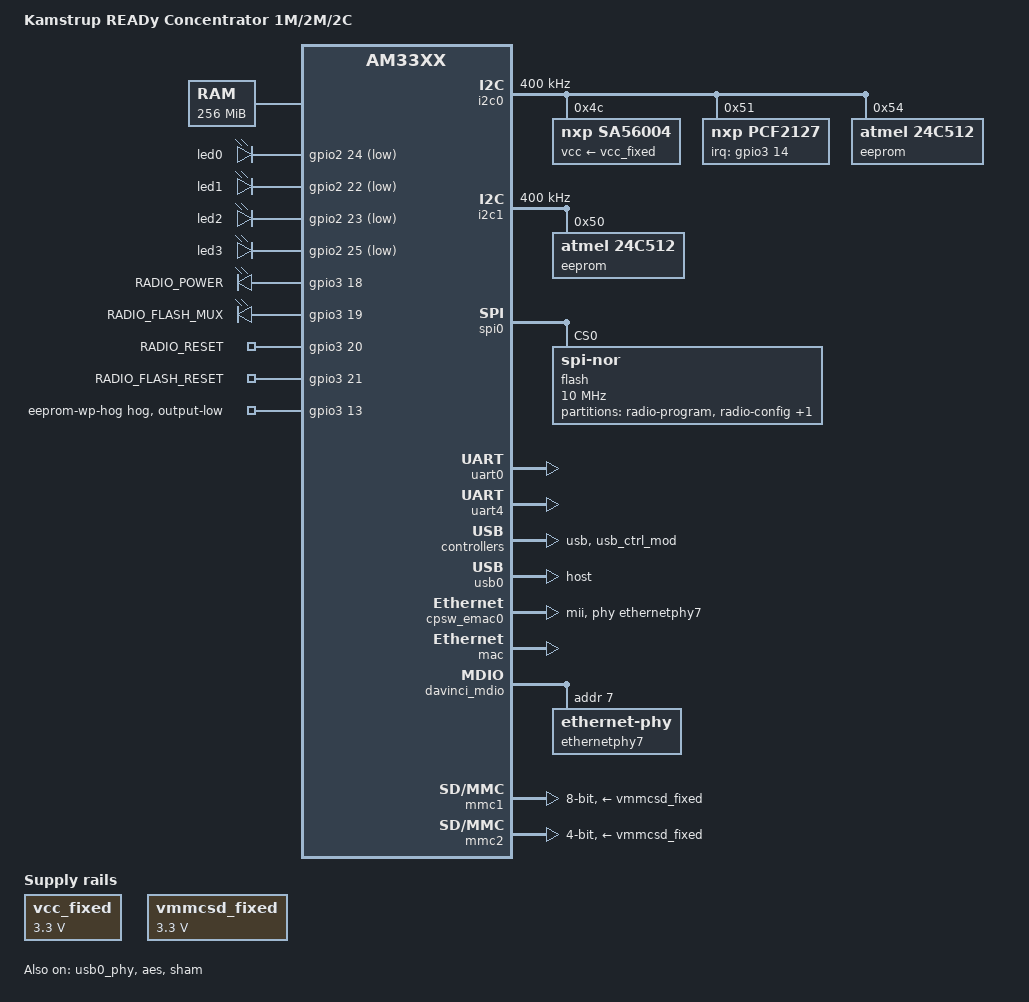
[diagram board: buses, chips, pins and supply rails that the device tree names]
// SPDX-License-Identifier: GPL-2.0-only
/*
 * Device Tree Source for Kamstrup READy Concentrator 1M/2M/2C.
 *
 * Copyright (C) 2025 Kamstrup A/S
 * Author: Bruno Thomsen <bruno.thomsen@gmail.com>
 *         Lars Alex Pedersen <lapeddk@gmail.com>
 */
/dts-v1/;

#include "am33xx.dtsi"
#include <dt-bindings/interrupt-controller/irq.h>
#include <dt-bindings/leds/common.h>

/ {
	model = "Kamstrup READy Concentrator 1M/2M/2C";
	compatible = "kam,am335x-emperor", "ti,am33xx";

	memory@80000000 {
		device_type = "memory";
		reg = <0x80000000 0x10000000>; /* 256 MB */
	};

	chosen {
		stdout-path = &uart0;
	};

	leds {
		compatible = "gpio-leds";
		pinctrl-names = "default";
		pinctrl-0 = <&leds_pins_default>;

		led0 {
			label = "led0";
			gpios = <&gpio2 24 GPIO_ACTIVE_LOW>;
			default-state = "off";
		};

		led1 {
			label = "led1";
			gpios = <&gpio2 22 GPIO_ACTIVE_LOW>;
			default-state = "off";
		};

		led2 {
			label = "led2";
			gpios = <&gpio2 23 GPIO_ACTIVE_LOW>;
			default-state = "off";
		};

		led3 {
			label = "led3";
			gpios = <&gpio2 25 GPIO_ACTIVE_LOW>;
			default-state = "on";
			linux,default-trigger = "heartbeat";
		};
	};

	sdr-radio-control {
		compatible = "gpio-leds";
		pinctrl-names = "default";
		pinctrl-0 = <&sdr_radio_control_pins_default>;

		led_radio_power {
			label = "RADIO_POWER";
			gpios = <&gpio3 18 GPIO_ACTIVE_HIGH>;
			default-state = "on";
		};

		led_radio_flash_mux {
			label = "RADIO_FLASH_MUX";
			gpios = <&gpio3 19 GPIO_ACTIVE_HIGH>;
			default-state = "on";
		};

		led_radio_reset {
			label = "RADIO_RESET";
			gpios = <&gpio3 20 GPIO_ACTIVE_HIGH>;
			default-state = "off";
		};

		led_radio_flash_reset {
			label = "RADIO_FLASH_RESET";
			gpios = <&gpio3 21 GPIO_ACTIVE_HIGH>;
			default-state = "on";
		};
	};

	regulators {
		compatible = "simple-bus";

		vcc_fixed: vcc_fixed {
			compatible = "regulator-fixed";
			regulator-name = "vcc_fixed";
			regulator-min-microvolt = <3300000>;
			regulator-max-microvolt = <3300000>;
			regulator-boot-on;
		};

		vmmcsd_fixed: fixedregulator0 {
			compatible = "regulator-fixed";
			regulator-name = "vmmcsd_fixed";
			regulator-min-microvolt = <3300000>;
			regulator-max-microvolt = <3300000>;
		};
	};
};

/*
 * Restrict 1.1 V operating point to increase SoC life-time
 * by removing the follow opp's:
 * - OPP120-1
 * - OPP120-2
 * - OPP120-2
 * - OPP Turbo-2
 * - OPP Nitro
 *
 * Note: This limit SoC operating point to maximum 600 MHz.
 */
&cpu0_opp_table {
	/delete-node/ opp-120-600000000;
	/delete-node/ opp-120-720000000;
	/delete-node/ opp-720000000;
	/delete-node/ opp-800000000;
	/delete-node/ opp-1000000000;
};

&gpio0 {
	gpio-line-names =
		"MDIO_DATA",
		"MDIO_CLK",
		"SPI0_CLK",
		"SPI0_MOSI",
		"SPI0_MISO",
		"SPI0_CS0",
		"POWER_FAILURE",
		"SPI1_CLK",
		"SYS_BOOT12",
		"SYS_BOOT13",
		"SYS_BOOT14",
		"SYS_BOOT15",
		"RADIO_TEMP_CRIT",
		"RADIO_TEMP_ALERT",
		"I2C1_SDA",
		"I2C1_SCL",
		"MII1_TXD3",
		"MII1_TXD2",
		"USB0_DRVVBUS",
		"RADIO_GPIO4",
		"RADIO_IRQ",
		"MII1_TXD1",
		"NC",
		"NC",
		"NC",
		"NC",
		"NC",
		"NC",
		"MII1_TXD0",
		"PHY_IRQ",
		"NC",
		"NC";
};

&gpio1 {
	gpio-line-names =
		"MMC1_DAT0",
		"MMC1_DAT1",
		"MMC1_DAT2",
		"MMC1_DAT3",
		"MMC1_DAT4",
		"MMC1_DAT5",
		"MMC1_DAT6",
		"MMC1_DAT7",
		"UART4_RX",
		"UART4_TX",
		"UART0_RX",
		"UART0_TX",
		"NC",
		"NC",
		"NC",
		"NC",
		"NC",
		"NC",
		"NC",
		"NC",
		"NC",
		"NC",
		"NC",
		"NC",
		"NC",
		"NC",
		"NC",
		"NC",
		"TEST_MODE",
		"NC",
		"RADIO_GPIO5",
		"MMC1_CMD";
};

&gpio2 {
	gpio-line-names =
		"NC",
		"NC",
		"RADIO_GPIO0",
		"RADIO_GPIO1",
		"RADIO_GPIO2",
		"RADIO_GPIO3",
		"SYS_BOOT0",
		"SYS_BOOT1",
		"SYS_BOOT2",
		"SYS_BOOT3",
		"SYS_BOOT4",
		"SYS_BOOT5",
		"SYS_BOOT6",
		"SYS_BOOT7",
		"SYS_BOOT8",
		"SYS_BOOT9",
		"SYS_BOOT10",
		"SYS_BOOT11",
		"MII1_RXD3",
		"MII1_RXD2",
		"MII1_RXD1",
		"MII1_RXD0",
		"LED2",
		"LED3",
		"LED1",
		"LED4",
		"MMC0_DAT3",
		"MMC0_DAT2",
		"MMC0_DAT1",
		"MMC0_DAT0",
		"MMC0_CLK0",
		"MMC0_CMD";
};

&gpio3 {
	gpio-line-names =
		"MII1_COL",
		"MII1_CRS_DV",
		"MII1_RXERR",
		"MII1_TXEN",
		"MII1_RXDV",
		"I2C0_SDA",
		"I2C0_SCL",
		"NC",
		"NC",
		"MII1_TXCLK",
		"MII1_RXCLK",
		"NC",
		"NC",
		"NC",
		"RTC_IRQ",
		"RTC_TAMPER",
		"RADIO_INIT_B",
		"RADIO_PRG_DONE",
		"RADIO_POWER",
		"RADIO_FLASH_MUX",
		"RADIO_RESET",
		"RADIO_FLASH_RESET",
		"NC",
		"NC",
		"NC",
		"NC",
		"NC",
		"NC",
		"NC",
		"NC",
		"NC",
		"NC";

	eeprom-wp-hog {
		gpio-hog;
		gpios = <13 GPIO_ACTIVE_HIGH>;
		output-low;
	};
};

&am33xx_pinmux {
	pinctrl-names = "default";
	pinctrl-0 = <
		&pinctrl_board_pins_default
		&sdr_radio_pins_default>;

	temperature_pins: temperature-pins {
		pinctrl-single,pins = <
			// Critical radio temperature
			AM33XX_PADCONF(AM335X_PIN_UART1_CTSN, PIN_INPUT_PULLUP, MUX_MODE7) /* (D18) uart1_ctsn.gpio0[12] */
		>;
	};

	rtc_pins_default: rtc-pins {
		pinctrl-single,pins = <
			// RTC Interrupt
			AM33XX_PADCONF(AM335X_PIN_MCASP0_ACLKX, PIN_INPUT, MUX_MODE7) /* (A13) mcasp0_aclkx.gpio3[14] */
			// Tamper state
			AM33XX_PADCONF(AM335X_PIN_MCASP0_FSX, PIN_INPUT, MUX_MODE7) /* (B13) mcasp0_fsx.gpio3[15] */
			// Power failure
			AM33XX_PADCONF(AM335X_PIN_SPI0_CS1, PIN_INPUT, MUX_MODE7) /* (C15) spi0_cs1.gpio0[6] */
		>;
	};

	mii1_pins_default: mii1-pins {
		pinctrl-single,pins = <
			AM33XX_PADCONF(AM335X_PIN_MII1_COL, PIN_INPUT, MUX_MODE0) /* (H16) gmii1_col.gmii1_col */
			AM33XX_PADCONF(AM335X_PIN_MII1_CRS, PIN_INPUT, MUX_MODE0) /* (H17) gmii1_crs.gmii1_crs */
			AM33XX_PADCONF(AM335X_PIN_MII1_RX_ER, PIN_INPUT, MUX_MODE0) /* (J15) gmii1_rxer.gmii1_rxer */
			AM33XX_PADCONF(AM335X_PIN_MII1_TX_EN, PIN_OUTPUT, MUX_MODE0) /* (J16) gmii1_txen.gmii1_txen */
			AM33XX_PADCONF(AM335X_PIN_MII1_RX_DV, PIN_INPUT, MUX_MODE0) /* (J17) gmii1_rxdv.gmii1_rxdv */
			AM33XX_PADCONF(AM335X_PIN_MII1_TX_CLK, PIN_INPUT, MUX_MODE0) /* (K18) gmii1_txclk.gmii1_txclk */
			AM33XX_PADCONF(AM335X_PIN_MII1_RX_CLK, PIN_INPUT, MUX_MODE0) /* (L18) gmii1_rxclk.gmii1_rxclk */
			AM33XX_PADCONF(AM335X_PIN_MII1_TXD0, PIN_OUTPUT, MUX_MODE0) /* (K17) gmii1_txd0.gmii1_txd0 */
			AM33XX_PADCONF(AM335X_PIN_MII1_TXD1, PIN_OUTPUT, MUX_MODE0) /* (K16) gmii1_txd1.gmii1_txd1 */
			AM33XX_PADCONF(AM335X_PIN_MII1_TXD2, PIN_OUTPUT, MUX_MODE0) /* (K15) gmii1_txd2.gmii1_txd2 */
			AM33XX_PADCONF(AM335X_PIN_MII1_TXD3, PIN_OUTPUT, MUX_MODE0) /* (J18) gmii1_txd3.gmii1_txd3 */
			AM33XX_PADCONF(AM335X_PIN_MII1_RXD0, PIN_INPUT, MUX_MODE0) /* (M16) gmii1_rxd0.gmii1_rxd0 */
			AM33XX_PADCONF(AM335X_PIN_MII1_RXD1, PIN_INPUT, MUX_MODE0) /* (L15) gmii1_rxd1.gmii1_rxd1 */
			AM33XX_PADCONF(AM335X_PIN_MII1_RXD2, PIN_INPUT, MUX_MODE0) /* (L16) gmii1_rxd2.gmii1_rxd2 */
			AM33XX_PADCONF(AM335X_PIN_MII1_RXD3, PIN_INPUT, MUX_MODE0) /* (L17) gmii1_rxd3.gmii1_rxd3 */
		>;
	};

	mdio_pins_default: mdio-pins {
		pinctrl-single,pins = <
			AM33XX_PADCONF(AM335X_PIN_MDC, PIN_OUTPUT_PULLUP, MUX_MODE0) /* (M18) mdio_clk.mdio_clk */
			AM33XX_PADCONF(AM335X_PIN_MDIO, PIN_INPUT_PULLUP, MUX_MODE0) /* (M17) mdio_data.mdio_data */
		>;
	};

	i2c0_pins_default: i2c0-pins {
		pinctrl-single,pins = <
			AM33XX_PADCONF(AM335X_PIN_I2C0_SCL, PIN_INPUT, MUX_MODE0) /* (C16) I2C0_SCL.I2C0_SCL */
			AM33XX_PADCONF(AM335X_PIN_I2C0_SDA, PIN_INPUT, MUX_MODE0) /* (C17) I2C0_SDA.I2C0_SDA */
		>;
	};

	i2c1_pins_default: i2c1-pins {
		pinctrl-single,pins = <
			AM33XX_PADCONF(AM335X_PIN_UART1_TXD, PIN_INPUT, MUX_MODE3) /* (D15) uart1_txd.I2C1_SCL */
			AM33XX_PADCONF(AM335X_PIN_UART1_RXD, PIN_INPUT, MUX_MODE3) /* (D16) uart1_rxd.I2C1_SDA */
		>;
	};

	spi0_pins_default: spi0-pins {
		pinctrl-single,pins = <
			AM33XX_PADCONF(AM335X_PIN_SPI0_SCLK, PIN_INPUT, MUX_MODE0) /* (A17) spi0_sclk.spi0_sclk */
			AM33XX_PADCONF(AM335X_PIN_SPI0_D0, PIN_INPUT_PULLUP, MUX_MODE0) /* (B17) spi0_d0.spi0_d0 */
			AM33XX_PADCONF(AM335X_PIN_SPI0_D1, PIN_INPUT, MUX_MODE0) /* (B16) spi0_d1.spi0_d1 */
			AM33XX_PADCONF(AM335X_PIN_SPI0_CS0, PIN_INPUT_PULLUP, MUX_MODE0) /* (A16) spi0_cs0.spi0_cs0 */
		>;
	};

	uart0_pins_default: uart0-pins {
		pinctrl-single,pins = <
			AM33XX_PADCONF(AM335X_PIN_UART0_RXD, PIN_INPUT_PULLUP, MUX_MODE0) /* (E15) uart0_rxd.uart0_rxd */
			AM33XX_PADCONF(AM335X_PIN_UART0_TXD, PIN_OUTPUT, MUX_MODE0) /* (E16) uart0_txd.uart0_txd */
		>;
	};

	uart4_pins_default: uart4-pins {
		pinctrl-single,pins = <
			AM33XX_PADCONF(AM335X_PIN_UART0_CTSN, PIN_INPUT_PULLUP, MUX_MODE1) /* (E18) uart0_ctsn.uart4_rxd */
			AM33XX_PADCONF(AM335X_PIN_UART0_RTSN, PIN_OUTPUT, MUX_MODE1) /* (E17) uart0_rtsn.uart4_txd */
		>;
	};

	sdcard_pins_default: sdcard-pins {
		pinctrl-single,pins = <
			AM33XX_PADCONF(AM335X_PIN_MMC0_CLK, PIN_INPUT, MUX_MODE0) /* (G17) mmc0_clk.mmc0_clk */
			AM33XX_PADCONF(AM335X_PIN_MMC0_CMD, PIN_INPUT, MUX_MODE0) /* (G18) mmc0_cmd.mmc0_cmd */
			AM33XX_PADCONF(AM335X_PIN_MMC0_DAT0, PIN_INPUT, MUX_MODE0) /* (G16) mmc0_dat0.mmc0_dat0 */
			AM33XX_PADCONF(AM335X_PIN_MMC0_DAT1, PIN_INPUT, MUX_MODE0) /* (G15) mmc0_dat1.mmc0_dat1 */
			AM33XX_PADCONF(AM335X_PIN_MMC0_DAT2, PIN_INPUT, MUX_MODE0) /* (F18) mmc0_dat2.mmc0_dat2 */
			AM33XX_PADCONF(AM335X_PIN_MMC0_DAT3, PIN_INPUT, MUX_MODE0) /* (F17) mmc0_dat3.mmc0_dat3 */
		>;
	};

	emmc_pins_default: emmc-pins {
		pinctrl-single,pins = <
			AM33XX_PADCONF(AM335X_PIN_GPMC_CSN1, PIN_INPUT, MUX_MODE2) /* (U9) gpmc_csn1.mmc1_clk */
			AM33XX_PADCONF(AM335X_PIN_GPMC_CSN2, PIN_INPUT, MUX_MODE2) /* (V9) gpmc_csn2.mmc1_cmd */
			AM33XX_PADCONF(AM335X_PIN_GPMC_AD0, PIN_INPUT, MUX_MODE1) /* (U7) gpmc_ad0.mmc1_dat0 */
			AM33XX_PADCONF(AM335X_PIN_GPMC_AD1, PIN_INPUT, MUX_MODE1) /* (V7) gpmc_ad1.mmc1_dat1 */
			AM33XX_PADCONF(AM335X_PIN_GPMC_AD2, PIN_INPUT, MUX_MODE1) /* (R8) gpmc_ad2.mmc1_dat2 */
			AM33XX_PADCONF(AM335X_PIN_GPMC_AD3, PIN_INPUT, MUX_MODE1) /* (T8) gpmc_ad3.mmc1_dat3 */
			AM33XX_PADCONF(AM335X_PIN_GPMC_AD4, PIN_INPUT, MUX_MODE1) /* (U8) gpmc_ad4.mmc1_dat4 */
			AM33XX_PADCONF(AM335X_PIN_GPMC_AD5, PIN_INPUT, MUX_MODE1) /* (V8) gpmc_ad5.mmc1_dat5 */
			AM33XX_PADCONF(AM335X_PIN_GPMC_AD6, PIN_INPUT, MUX_MODE1) /* (R9) gpmc_ad6.mmc1_dat6 */
			AM33XX_PADCONF(AM335X_PIN_GPMC_AD7, PIN_INPUT, MUX_MODE1) /* (T9) gpmc_ad7.mmc1_dat7 */
		>;
	};

	leds_pins_default: leds-pins {
		pinctrl-single,pins = <
			AM33XX_PADCONF(AM335X_PIN_LCD_VSYNC, PIN_OUTPUT, MUX_MODE7) /* (U5) lcd_vsync.gpio2[22] */
			AM33XX_PADCONF(AM335X_PIN_LCD_HSYNC, PIN_OUTPUT, MUX_MODE7) /* (R5) lcd_hsync.gpio2[23] */
			AM33XX_PADCONF(AM335X_PIN_LCD_PCLK, PIN_OUTPUT, MUX_MODE7) /* (V5) lcd_pclk.gpio2[24] */
			AM33XX_PADCONF(AM335X_PIN_LCD_AC_BIAS_EN, PIN_OUTPUT, MUX_MODE7) /* (R6) lcd_ac_bias_en.gpio2[25] */
		>;
	};

	sdr_radio_control_pins_default: sdr-radio-control-pins {
		pinctrl-single,pins = <
			AM33XX_PADCONF(AM335X_PIN_MCASP0_ACLKR, PIN_OUTPUT, MUX_MODE7) /* (B12) mcasp0_aclkr.gpio3[18] */
			AM33XX_PADCONF(AM335X_PIN_MCASP0_FSR, PIN_OUTPUT, MUX_MODE7) /* (C13) mcasp0_fsr.gpio3[19] */
			AM33XX_PADCONF(AM335X_PIN_MCASP0_AXR1, PIN_OUTPUT, MUX_MODE7) /* (D13) mcasp0_axr1.gpio3[20] */
			AM33XX_PADCONF(AM335X_PIN_MCASP0_AHCLKX, PIN_OUTPUT, MUX_MODE7) /* (A14) mcasp0_ahclkx.gpio3[21] */
		>;
	};

	sdr_radio_pins_default: sdr-radio-pins {
		pinctrl-single,pins = <
			// Radio irq
			AM33XX_PADCONF(AM335X_PIN_XDMA_EVENT_INTR1, PIN_INPUT_PULLUP, MUX_MODE7) /* (D14) xdma_event_intr1.gpio0[20] */
			// Radio init_b
			AM33XX_PADCONF(AM335X_PIN_MCASP0_AXR0, PIN_INPUT_PULLUP, MUX_MODE7) /* (D12) mcasp0_axr0.gpio3[16] */
			// Radio prog_done
			AM33XX_PADCONF(AM335X_PIN_MCASP0_AHCLKR, PIN_INPUT_PULLUP, MUX_MODE7) /* (C12) mcasp0_ahclkr.gpio3[17] */
			// Radio gpio0 to gpio5
			AM33XX_PADCONF(AM335X_PIN_GPMC_ADVN_ALE, PIN_INPUT_PULLUP, MUX_MODE7) /* (R7) gpmc_advn_ale.gpio2[2] */
			AM33XX_PADCONF(AM335X_PIN_GPMC_OEN_REN, PIN_INPUT_PULLUP, MUX_MODE7) /* (T7) gpmc_oen_ren.gpio2[3] */
			AM33XX_PADCONF(AM335X_PIN_GPMC_WEN, PIN_INPUT_PULLUP, MUX_MODE7) /* (U6) gpmc_wen.gpio2[4] */
			AM33XX_PADCONF(AM335X_PIN_GPMC_BEN0_CLE, PIN_INPUT_PULLUP, MUX_MODE7) /* (T6) gpmc_be0n_cle.gpio2[5] */
			AM33XX_PADCONF(AM335X_PIN_ECAP0_IN_PWM0_OUT, PIN_INPUT_PULLUP, MUX_MODE7) /* (C18) eCAP0_in_PWM0_out.gpio0[7] */
			AM33XX_PADCONF(AM335X_PIN_XDMA_EVENT_INTR0, PIN_INPUT_PULLUP, MUX_MODE7) /* (A15) xdma_event_intr0.gpio0[19] */
		>;
	};

	pinctrl_board_pins_default: board-default-pins {
		pinctrl-single,pins = <
			// PHY irq
			AM33XX_PADCONF(AM335X_PIN_RMII1_REF_CLK, PIN_INPUT_PULLUP, MUX_MODE7) /* (H18) rmii1_refclk.gpio0[29] */
			// Production test
			AM33XX_PADCONF(AM335X_PIN_GPMC_BEN1, PIN_INPUT_PULLUP, MUX_MODE7) /* (U18) gpmc_be1n.gpio1[28] */
			// SYS_BOOT0 to SYS_BOOT15
			AM33XX_PADCONF(AM335X_PIN_LCD_DATA0, PIN_INPUT, MUX_MODE7) /* (R1) lcd_data0.gpio2[6] */
			AM33XX_PADCONF(AM335X_PIN_LCD_DATA1, PIN_INPUT, MUX_MODE7) /* (R2) lcd_data1.gpio2[7] */
			AM33XX_PADCONF(AM335X_PIN_LCD_DATA2, PIN_INPUT, MUX_MODE7) /* (R3) lcd_data2.gpio2[8] */
			AM33XX_PADCONF(AM335X_PIN_LCD_DATA3, PIN_INPUT, MUX_MODE7) /* (R4) lcd_data3.gpio2[9] */
			AM33XX_PADCONF(AM335X_PIN_LCD_DATA4, PIN_INPUT, MUX_MODE7) /* (T1) lcd_data4.gpio2[10] */
			AM33XX_PADCONF(AM335X_PIN_LCD_DATA5, PIN_INPUT, MUX_MODE7) /* (T2) lcd_data5.gpio2[11] */
			AM33XX_PADCONF(AM335X_PIN_LCD_DATA6, PIN_INPUT, MUX_MODE7) /* (T3) lcd_data6.gpio2[12] */
			AM33XX_PADCONF(AM335X_PIN_LCD_DATA7, PIN_INPUT, MUX_MODE7) /* (T4) lcd_data7.gpio2[13] */
			AM33XX_PADCONF(AM335X_PIN_LCD_DATA8, PIN_INPUT, MUX_MODE7) /* (U1) lcd_data8.gpio2[14] */
			AM33XX_PADCONF(AM335X_PIN_LCD_DATA9, PIN_INPUT, MUX_MODE7) /* (U2) lcd_data9.gpio2[15] */
			AM33XX_PADCONF(AM335X_PIN_LCD_DATA10, PIN_INPUT, MUX_MODE7) /* (U3) lcd_data10.gpio2[16] */
			AM33XX_PADCONF(AM335X_PIN_LCD_DATA11, PIN_INPUT, MUX_MODE7) /* (U4) lcd_data11.gpio2[17] */
			AM33XX_PADCONF(AM335X_PIN_LCD_DATA12, PIN_INPUT, MUX_MODE7) /* (V2) lcd_data12.gpio0[8] */
			AM33XX_PADCONF(AM335X_PIN_LCD_DATA13, PIN_INPUT, MUX_MODE7) /* (V3) lcd_data13.gpio0[9] */
			AM33XX_PADCONF(AM335X_PIN_LCD_DATA14, PIN_INPUT, MUX_MODE7) /* (V4) lcd_data14.gpio0[10] */
			AM33XX_PADCONF(AM335X_PIN_LCD_DATA15, PIN_INPUT, MUX_MODE7) /* (T5) lcd_data15.gpio0[11] */
			// Unused gpio pins
			AM33XX_PADCONF(AM335X_PIN_GPMC_AD8, PIN_INPUT_PULLDOWN, MUX_MODE7) /* (U10) gpmc_ad8.gpio0[22] */
			AM33XX_PADCONF(AM335X_PIN_GPMC_AD9, PIN_INPUT_PULLDOWN, MUX_MODE7) /* (T10) gpmc_ad9.gpio0[23] */
			AM33XX_PADCONF(AM335X_PIN_GPMC_AD10, PIN_INPUT_PULLDOWN, MUX_MODE7) /* (T11) gpmc_ad10.gpio0[26] */
			AM33XX_PADCONF(AM335X_PIN_GPMC_AD11, PIN_INPUT_PULLDOWN, MUX_MODE7) /* (U12) gpmc_ad11.gpio0[27] */
			AM33XX_PADCONF(AM335X_PIN_GPMC_WAIT0, PIN_INPUT_PULLDOWN, MUX_MODE7) /* (T17) gpmc_wait0.gpio0[30] */
			AM33XX_PADCONF(AM335X_PIN_GPMC_WPN, PIN_INPUT_PULLDOWN, MUX_MODE7) /* (U17) gpmc_wpn.gpio0[31] */
			AM33XX_PADCONF(AM335X_PIN_GPMC_AD12, PIN_INPUT_PULLDOWN, MUX_MODE7) /* (T12) gpmc_ad12.gpio1[12] */
			AM33XX_PADCONF(AM335X_PIN_GPMC_AD13, PIN_INPUT_PULLDOWN, MUX_MODE7) /* (R12) gpmc_ad13.gpio1[13] */
			AM33XX_PADCONF(AM335X_PIN_GPMC_AD14, PIN_INPUT_PULLDOWN, MUX_MODE7) /* (V13) gpmc_ad14.gpio1[14] */
			AM33XX_PADCONF(AM335X_PIN_GPMC_AD15, PIN_INPUT_PULLDOWN, MUX_MODE7) /* (U13) gpmc_ad15.gpio1[15] */
			AM33XX_PADCONF(AM335X_PIN_GPMC_A0, PIN_INPUT_PULLDOWN, MUX_MODE7) /* (R13) gpmc_a0.gpio1[16] */
			AM33XX_PADCONF(AM335X_PIN_GPMC_A1, PIN_INPUT_PULLDOWN, MUX_MODE7) /* (V14) gpmc_a1.gpio1[17] */
			AM33XX_PADCONF(AM335X_PIN_GPMC_A2, PIN_INPUT_PULLDOWN, MUX_MODE7) /* (U14) gpmc_a2.gpio1[18] */
			AM33XX_PADCONF(AM335X_PIN_GPMC_A3, PIN_INPUT_PULLDOWN, MUX_MODE7) /* (T14) gpmc_a3.gpio1[19] */
			AM33XX_PADCONF(AM335X_PIN_GPMC_A4, PIN_INPUT_PULLDOWN, MUX_MODE7) /* (R14) gpmc_a4.gpio1[20] */
			AM33XX_PADCONF(AM335X_PIN_GPMC_A5, PIN_INPUT_PULLDOWN, MUX_MODE7) /* (V15) gpmc_a5.gpio1[21] */
			AM33XX_PADCONF(AM335X_PIN_GPMC_A6, PIN_INPUT_PULLDOWN, MUX_MODE7) /* (U15) gpmc_a6.gpio1[22] */
			AM33XX_PADCONF(AM335X_PIN_GPMC_A6, PIN_INPUT_PULLDOWN, MUX_MODE7) /* (T15) gpmc_a7.gpio1[23] */
			AM33XX_PADCONF(AM335X_PIN_GPMC_A8, PIN_INPUT_PULLDOWN, MUX_MODE7) /* (V16) gpmc_a8.gpio1[24] */
			AM33XX_PADCONF(AM335X_PIN_GPMC_A9, PIN_INPUT_PULLDOWN, MUX_MODE7) /* (U16) gpmc_a9.gpio1[25] */
			AM33XX_PADCONF(AM335X_PIN_GPMC_A10, PIN_INPUT_PULLDOWN, MUX_MODE7) /* (T16) gpmc_a10.gpio1[26] */
			AM33XX_PADCONF(AM335X_PIN_GPMC_A11, PIN_INPUT_PULLDOWN, MUX_MODE7) /* (V17) gpmc_a11.gpio1[27] */
			AM33XX_PADCONF(AM335X_PIN_GPMC_CSN0, PIN_INPUT_PULLDOWN, MUX_MODE7) /* (V6) gpmc_csn0.gpio1[29] */
			AM33XX_PADCONF(AM335X_PIN_GPMC_CSN3, PIN_INPUT_PULLDOWN, MUX_MODE7) /* (T13) gpmc_csn3.gpio2[0] */
			AM33XX_PADCONF(AM335X_PIN_GPMC_CLK, PIN_INPUT_PULLDOWN, MUX_MODE7) /* (V12) gpmc_clk.gpio2[1] */
			AM33XX_PADCONF(AM335X_PIN_USB1_DRVVBUS, PIN_INPUT_PULLDOWN, MUX_MODE7) /* (F15) USB1_DRVVBUS.gpio3[13] */
		>;
	};
};

/*
 * I2C bus on baseband board (55501738)
 */
&i2c0 {
	pinctrl-names = "default";
	pinctrl-0 = <&i2c0_pins_default>;
	status = "okay";
	clock-frequency = <400000>;

	/*
	 * SDR radio temperature sensor
	 *
	 * Unused hardware connected pins:
	 * gpio0 pin 13: /ALERT INTERRUPT
	 * gpio0 pin 12: /T_CRIT INTERRUPT
	 */
	sa56004: temperature-sensor@4c {
		compatible = "nxp,sa56004";
		reg = <0x4c>;
		vcc-supply = <&vcc_fixed>;
		#address-cells = <1>;
		#size-cells = <0>;

		channel@0 {
			reg = <0x0>;
			label = "baseboard-temperature";
		};

		channel@1 {
			reg = <0x1>;
			label = "fpga-temperature";
		};
	};

	pcf2127: rtc@51 {
		compatible = "nxp,pcf2127";
		reg = <0x51>;
		pinctrl-names = "default";
		pinctrl-0 = <&rtc_pins_default>;
		interrupt-parent = <&gpio3>;
		interrupts = <14 IRQ_TYPE_LEVEL_LOW>;
		reset-source;
	};

	eeprom@54 {
		compatible = "atmel,24c512";
		reg = <0x54>;
		pagesize = <128>;
	};
};

/*
 * I2C bus on radio board (55501946)
 */
&i2c1 {
	pinctrl-names = "default";
	pinctrl-0 = <&i2c1_pins_default>;
	status = "okay";
	clock-frequency = <400000>;

	eeprom@50 {
		reg = <0x50>;
		compatible = "atmel,24c512";
		pagesize = <128>;
	};
};

/*
 * SPI bus on radio board (55501946)
 */
&spi0 {
	status = "okay";
	pinctrl-names = "default";
	pinctrl-0 = <&spi0_pins_default>;
	ti,spi-num-cs = <1>;

	flash@0 {
		compatible = "jedec,spi-nor";
		reg = <0>;
		spi-tx-bus-width = <1>;
		spi-rx-bus-width = <1>;
		spi-max-frequency = <10000000>;

		/* Radio flash is 32 MBytes in size.
		 * 64 KB blocks of configurations are located in the
		 * last part of the storage.
		 */
		partitions {
			compatible = "fixed-partitions";
			#address-cells = <1>;
			#size-cells = <1>;
			partition@0 {
				reg = <0x0 0xfe0000>;
				label = "radio-program";
			};
			partition@fe0000 {
				reg = <0xfe0000 0x10000>;
				label = "radio-config";
			};
			partition@ff0000 {
				reg = <0xff0000 0x10000>;
				label = "baseband-config";
			};
		};
	};
};

&uart0 {
	pinctrl-names = "default";
	pinctrl-0 = <&uart0_pins_default>;
	status = "okay";
};

/*
 * SDR radio low-level error logging.
 * Works even if primary USB communcation has issues.
 */
&uart4 {
	pinctrl-names = "default";
	pinctrl-0 = <&uart4_pins_default>;
	status = "okay";
};

&usb {
	status = "okay";
};

&usb_ctrl_mod {
	status = "okay";
};

/*
 * Host USB port 0 is used for SDR radio communication.
 */
&usb0_phy {
	status = "okay";
};

&usb0 {
	status = "okay";
	dr_mode = "host";
};

&cppi41dma	{
	status = "okay";
};

&cpsw_emac0 {
	phy_id = <&davinci_mdio>, <7>;
	phy-mode = "mii";
	phy-handle = <&ethernetphy7>;
};

&mac {
	pinctrl-names = "default";
	pinctrl-0 = <&mii1_pins_default>;
	status = "okay";
	slaves = <1>;
};

&davinci_mdio {
	pinctrl-names = "default";
	pinctrl-0 = <&mdio_pins_default>;
	status = "okay";

	ethernetphy7: ethernet-phy@7 {
		reg = <7>;
		smsc,disable-energy-detect;
	};
};

/* eMMC */
&mmc1 {
	status = "okay";
	bus-width = <8>;
	vmmc-supply = <&vmmcsd_fixed>;
	vmmc_aux-supply = <&vmmcsd_fixed>;
	pinctrl-names = "default";
	pinctrl-0 = <&emmc_pins_default>;

	/*
	 * am335x doesn't support DDR, so make sure the data signal is set
	 * early in the clock cycle
	 */
	/delete-property/ ti,needs-special-hs-handling;
};

/* microSD card, used during manufacturing */
&mmc2 {
	status = "okay";
	bus-width = <4>;
	vmmc-supply = <&vmmcsd_fixed>;
	vmmc_aux-supply = <&vmmcsd_fixed>;
	pinctrl-names = "default";
	pinctrl-0 = <&sdcard_pins_default>;
};

&rtc {
	ti,no-init;
	status = "disabled";
};

&aes {
	status = "okay";
};

&sham {
	status = "okay";
};
